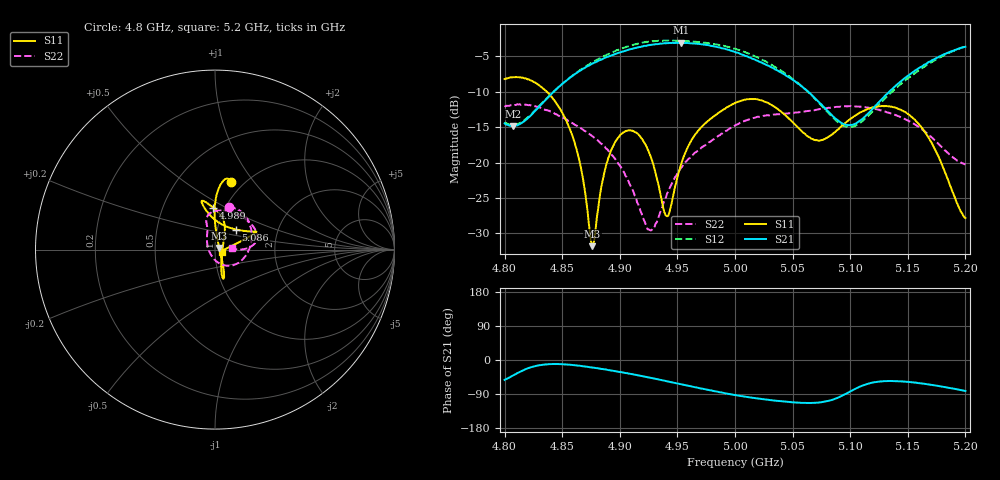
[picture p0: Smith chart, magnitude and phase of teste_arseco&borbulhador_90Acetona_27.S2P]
! Network Analyzer HP8722D
! Hewlett-Packard
! Data name: Linha & Wilkinson
! Saver's name: Rodrigo Anjos
! Comments: Teste da utilização de aquisição
! continua pelo VNA HP8722D
! Time and date: 17/4/2025 11:16
!  Frequency  S11  S21  S12  S22
# HZ  S  MA R 50
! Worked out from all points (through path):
!   401 points, 4.8 GHz to 5.2 GHz, reference 50 ohm
!   highest |S21| = -3.07 dB at 4.953 GHz (marker M1); lowest = -14.8 dB at 4.807 GHz (marker M2)
!   lowest |S11| = -31.8 dB at 4.876 GHz (marker M3), VSWR 1.05, Z = 52.5 + j0.909 ohm
!   |S11| at or under -10 dB: 4.837 GHz to end of sweep
!   |S22| runs from -29.6 to -11.7 dB; largest |S21 - S12| = 1.4
!   S11 on the Smith chart (normalised r, x): 4.8 GHz: 0.87, +0.78; 4.989 GHz: 0.88, +0.44; 5.086 GHz: 1.23, +0.28; 5.2 GHz: 1.08, -0.03
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4.8e9  0.3896 76.7  0.1895 -52.6  0.193 82.3  0.2478 71.7
4.807e9  0.4011 78.8  0.1815 -41.3  0.1843 92.5  0.2559 65.7
4.845e9  0.2623 89.8  0.3307 -10.6  0.3314 122.7  0.2191 21.1
4.858e9  0.1615 90.1  0.4045 -12.9  0.4065 122.4  0.1914 1.6
4.867e9  0.08511 84.0  0.4536 -16.1  0.458 121.1  0.1733 -12.3
4.876e9  0.02569 19.7  0.4992 -19.8  0.5091 118.7  0.1539 -26.7
4.889e9  0.1011 -63.7  0.558 -25.8  0.5799 114.5  0.1245 -46.1
4.903e9  0.1634 -71.9  0.6095 -33.1  0.6463 108.4  0.08704 -68.0
4.925e9  0.1202 -73.0  0.6752 -45.9  0.715 96.0  0.03366 -142.9
4.934e9  0.06725 -58.0  0.6888 -51.7  0.7275 90.3  0.04203 160.6
4.942e9  0.04204 4.4  0.6982 -56.9  0.7286 85.1  0.0625 135.3
4.953e9  0.09607 56.7  0.7022 -63.8  0.7222 78.2  0.09148 119.3
4.966e9  0.1601 71.5  0.6934 -72.1  0.7143 69.8  0.1184 111.0
4.989e9  0.2337 92.3  0.6413 -86.2  0.6698 55.1  0.1606 107.2
5e9  0.2638 99.8  0.6046 -92.5  0.638 48.3  0.1829 104.7
5.028e9  0.2651 105.5  0.4862 -104.6  0.5096 33.9  0.2165 88.6
5.067e9  0.1467 76.6  0.2985 -113.2  0.2962 27.7  0.2331 54.3
5.086e9  0.1624 43.6  0.2094 -103.3  0.2044 39.5  0.246 36.3
5.105e9  0.2168 28.0  0.189 -75.2  0.1829 69.5  0.2491 22.0
5.134e9  0.2496 23.1  0.3174 -55.4  0.3038 91.0  0.2245 8.8
5.165e9  0.1639 18.7  0.4944 -63.2  0.4793 84.9  0.1655 1.2
5.2e9  0.04064 -17.2  0.6584 -81.9  0.6609 67.5  0.09702 5.5
